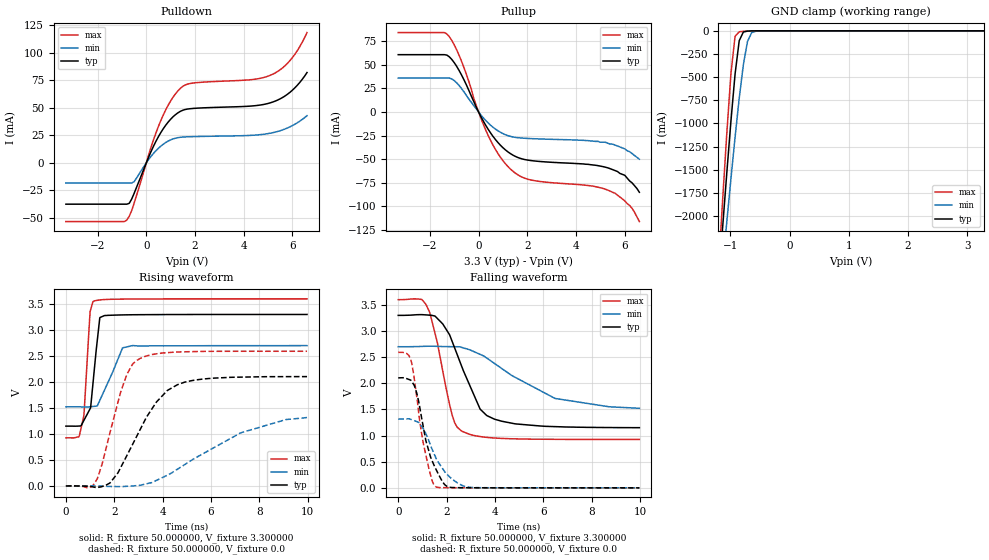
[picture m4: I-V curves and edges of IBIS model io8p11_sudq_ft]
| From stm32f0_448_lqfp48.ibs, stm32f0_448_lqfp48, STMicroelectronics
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|   Model io8p11_sudq_ft
[Model]  io8p11_sudq_ft
Model_type I/O
Polarity   Non-Inverting
Enable   Active-Low
Vinl =   0.990000V
Vinh =   2.310000V
Vmeas =  1.650000V
Cref =   30.000000pF
Rref =   100.000000M
Vref =   0.0V
C_comp   1.970900pF   1.892300pF   2.063200pF
[Temperature Range]   25.000000   0.125000k   -40.000000
[Pullup Reference]   3.300000V   2.700000V   3.600000V
[Pulldown Reference]   0.0V   0.0V   0.0V
[POWER Clamp Reference]   3.300000V   2.700000V   3.600000V
[GND Clamp Reference]   0.0V   0.0V   0.0V
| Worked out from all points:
|   slope of the pulldown table from 0 to 0.495 V, typ, clamps not added: 20.9 ohm
|   slope of the pullup table from 0 to 0.495 V, typ, clamps not added: 22.2 ohm
|   GND clamp passes 1 mA (typ) near -0.64 V on its own axis
|   rising waveform, R_fixture 50.000000, V_fixture 3.300000: 20-80 % time 277ps typ, 662ps min, 203ps max; typ from 1.15 V to 3.3 V
|   rising waveform, R_fixture 50.000000, V_fixture 0.0: 20-80 % time 1.54ns typ, 3.04ns min, 916ps max; typ from 0 V to 2.1 V
|   falling waveform, R_fixture 50.000000, V_fixture 3.300000: 20-80 % time 1.14ns typ, 2.57ns min, 732ps max; typ from 3.3 V to 1.15 V
|   falling waveform, R_fixture 50.000000, V_fixture 0.0: 20-80 % time 661ps typ, 876ps min, 528ps max; typ from 2.1 V to 0 V
[Pulldown]
|Voltage   I(typ)   I(min)   I(max)
-3.3V     -37.45mA   -18.2mA    -53.24mA
-800mV    -37.45mA   -18.2mA    -51.9mA
-700mV    -36.7mA    -18.2mA    -48.48mA
-500mV    -27.71mA   -17.01mA   -36.66mA
200mV     10.57mA    6.084mA    14.57mA
500mV     23.91mA    13.38mA    33.24mA
900mV     37.17mA    19.88mA    52.48mA
1.3V      45.55mA    23.01mA    65.5mA
1.8V      49.29mA    23.83mA    72.18mA
5.1V      54.68mA    27.07mA    79.72mA
5.9V      64.2mA     32.82mA    93.01mA
6.6V      82.13mA    42.97mA    118.4mA
[Pullup]
|Voltage   I(typ)   I(min)   I(max)
-3.3V     60.69mA    35.92mA    84.08mA
-1.4V     60.69mA    35.92mA    84.08mA
-1.2V     58.36mA    35.92mA    79.66mA
-700mV    39.17mA    24.85mA    53.68mA
0V        90fA       16pA       0A
400mV     -18.61mA   -11.78mA   -25.23mA
900mV     -35.28mA   -21.55mA   -48mA
1.5V      -46.91mA   -26.86mA   -64.58mA
2.2V      -51.57mA   -28.22mA   -72.25mA
5.4V      -60mA      -34mA      -83.7mA
6.2V      -73mA      -42mA      -99mA
6.6V      -85mA      -50mA      -116mA
[GND_clamp]
|Voltage   I(typ)   I(min)   I(max)
-3.3V     -9.525A    -9.501A    -9.513A
-1.2V     -2.719A    -3.023A    -2.568A
-1.13V    -2.122A    -2.541A    -1.826A
-1.06V    -1.537A    -2.065A    -1.111A
-990mV    -975.7mA   -1.599A    -462mA
-920mV    -467.4mA   -1.149A    -59mA
-850mV    -106.6mA   -727.3mA   -10.11mA
-780mV    -13.06mA   -365.4mA   -5.254mA
-710mV    -3.045mA   -114.8mA   -2.635mA
-640mV    -943.2uA   -20.16mA   -905.7uA
-570mV    -199.4uA   -3.959mA   -156.8uA
3.28V     0A         0A         0A
[POWER_clamp]
|Voltage   I(typ)   I(min)   I(max)
-3.28V    0A         0A         0A
0V        0A         0A         0A
[Ramp]
| variable   typ   min   max
dV/dt_r  1.26204/1.54199n   0.74154/3.07545n   1.55460/0.91488n
dV/dt_f  1.28820/1.14146n   0.68808/2.59071n   1.60477/0.73113n
R_load = 50.000000
[Rising Waveform]
R_fixture= 50.000000
V_fixture= 3.300000
V_fixture_min= 2.700000
V_fixture_max= 3.600000
|time   V(typ)   V(min)   V(max)
0s        1.151V     1.522V     925.6mV
540.5ps   1.153V     1.522V     946.3mV
740.7ps   1.257V     1.521V     1.344V
1.001ns   1.485V     1.525V     3.355V
1.121ns   1.978V     1.53V      3.548V
1.401ns   3.233V     1.646V     3.579V
1.602ns   3.278V     1.85V      3.587V
2.342ns   3.291V     2.657V     3.595V
2.763ns   3.294V     2.701V     3.596V
9.97ns    3.3V       2.7V       3.6V
[Rising Waveform]
R_fixture= 50.000000
V_fixture= 0.0
V_fixture_min= 0.0
V_fixture_max= 0.0
|time   V(typ)   V(min)   V(max)
0s        -11.47uV   -27.38uV   -6.456uV
1.181ns   -24.48mV   -1.04mV    43.67mV
1.481ns   -14.38mV   -4.331mV   396.7mV
1.822ns   56.8mV     -9.555mV   1.023V
2.523ns   585.5mV    -6.9mV     2.148V
3.043ns   1.06V      10.88mV    2.446V
3.744ns   1.615V     106.8mV    2.543V
4.905ns   1.996V     408.5mV    2.581V
7.227ns   2.094V     1.022V     2.592V
9.97ns    2.104V     1.316V     2.592V
[Falling Waveform]
R_fixture= 50.000000
V_fixture= 3.300000
V_fixture_min= 2.700000
V_fixture_max= 3.600000
|time   V(typ)   V(min)   V(max)
0s        3.3V       2.7V       3.6V
961ps     3.314V     2.705V     3.605V
1.161ns   3.308V     2.709V     3.497V
1.622ns   3.239V     2.707V     2.77V
2.222ns   2.811V     2.701V     1.406V
2.623ns   2.327V     2.687V     1.086V
3.383ns   1.509V     2.554V     981.2mV
3.984ns   1.313V     2.379V     953.7mV
6.486ns   1.171V     1.71V      928.4mV
9.97ns    1.151V     1.522V     925.6mV
[Falling Waveform]
R_fixture= 50.000000
V_fixture= 0.0
V_fixture_min= 0.0
V_fixture_max= 0.0
|time   V(typ)   V(min)   V(max)
0s        2.104V     1.316V     2.592V
340.3ps   2.092V     1.32V      2.572V
560.6ps   2.034V     1.303V     2.384V
760.8ps   1.821V     1.269V     1.763V
1.021ns   1.205V     1.141V     888.3mV
1.401ns   518.9mV    738.5mV    138.8mV
1.582ns   336.1mV    547.5mV    14.88mV
2.002ns   33.13mV    264.1mV    2.736mV
2.863ns   1.972mV    16.69mV    1.045mV
9.97ns    -11.47uV   -27.38uV   -6.456uV
